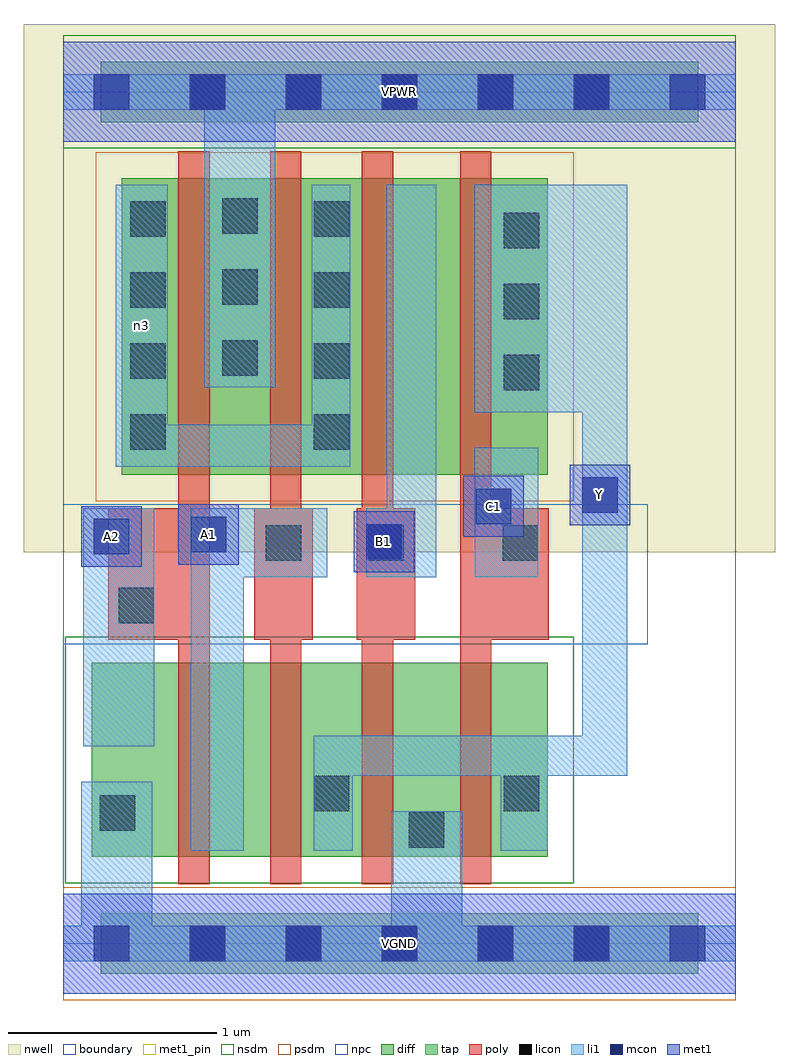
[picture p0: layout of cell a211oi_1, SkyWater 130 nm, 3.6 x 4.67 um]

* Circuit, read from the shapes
.subckt a211oi_1 A1 A2 B1 C1 VGND VPWR Y n3
XM1 n1 A2 VGND VGND sky130_fd_pr__nfet_01v8 w=0.93 l=0.15
XM2 Y A1 n1 VGND sky130_fd_pr__nfet_01v8 w=0.93 l=0.15
XM3 VGND B1 Y VGND sky130_fd_pr__nfet_01v8 w=0.93 l=0.15
XM4 Y C1 VGND VGND sky130_fd_pr__nfet_01v8 w=0.93 l=0.15
XM5 VPWR A2 n3 VPWR sky130_fd_pr__pfet_01v8 w=1.42 l=0.15
XM6 n3 A1 VPWR VPWR sky130_fd_pr__pfet_01v8 w=1.42 l=0.15
XM7 n2 B1 n3 VPWR sky130_fd_pr__pfet_01v8 w=1.42 l=0.15
XM8 Y C1 n2 VPWR sky130_fd_pr__pfet_01v8 w=1.42 l=0.15
.ends

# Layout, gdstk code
import gdstk
lib = gdstk.Library(unit=1e-6, precision=1e-09)
def R(c, l, rs):  # rectangles x0, y0, x1, y1
    for r in rs: c.add(gdstk.rectangle(r[:2], r[2:], *l))
def A(c, l, x, y, w, h, nx, ny, dx, dy):  # array of equal rectangles
    R(c, l, [(x+i*dx, y+j*dy, x+i*dx+w, y+j*dy+h) for i in range(nx) for j in range(ny)])
nwell = (64, 20)
diff = (65, 20)
tap = (65, 44)
poly = (66, 20)
licon = (66, 44)
li1 = (67, 20)
mcon = (67, 44)
met1_pin = (68, 16)
met1 = (68, 20)
nsdm = (93, 44)
psdm = (94, 20)
npc = (95, 20)
boundary = (235, 4)

a211oi_1 = lib.new_cell('a211oi_1')
R(a211oi_1, nwell, [(-0.19,1.875,3.41,4.405), (0,1.875,3.22,4.405)])
R(a211oi_1, diff, [(0.135,0.415,2.32,1.345), (0.28,2.245,2.32,3.665)])
R(a211oi_1, tap, [(0.18,-0.145,3.04,0.145), (0.18,3.935,3.04,4.225)])
A(a211oi_1, poly, 0.55, 0.285, 0.15, 3.51, 3, 1, 0.44, 0)
R(a211oi_1, poly, [(1.9,0.285,2.05,3.795), (0.215,1.455,0.7,2.085), (0.915,1.455,1.195,2.085), (1.405,1.455,1.685,2.085), (1.9,1.455,2.325,2.085)])
A(a211oi_1, licon, 0.605, -0.085, 0.17, 0.17, 5, 2, 0.46, 4.08)
A(a211oi_1, licon, 0.32, 2.365, 0.17, 0.17, 1, 4, 0, 0.34)
A(a211oi_1, licon, 1.2, 2.365, 0.17, 0.17, 1, 4, 0, 0.34)
A(a211oi_1, licon, 2.11, 2.65, 0.17, 0.17, 1, 3, 0, 0.34)
A(a211oi_1, licon, 0.76, 2.72, 0.17, 0.17, 1, 3, 0, 0.34)
R(a211oi_1, licon, [(1.655,0.46,1.825,0.63), (0.175,0.54,0.345,0.71), (1.2,0.635,1.37,0.805), (2.11,0.635,2.28,0.805), (0.265,1.535,0.435,1.705), (0.97,1.835,1.14,2.005), (1.46,1.835,1.63,2.005), (2.105,1.835,2.275,2.005)])
R(a211oi_1, li1, [(0,-0.085,3.22,0.085), (0.085,-0.085,0.425,0.775), (1.57,-0.085,1.91,0.635), (0.61,0.445,0.865,2.085), (1.2,0.445,1.385,0.995), (2.095,0.445,2.32,0.995), (1.2,0.805,2.7,0.995), (2.485,0.805,2.7,3.635), (0.095,0.945,0.435,2.085), (0.61,1.755,1.265,2.085), (1.45,1.755,1.785,2.085), (1.55,1.755,1.785,3.635), (1.97,1.755,2.275,2.375), (0.25,2.285,0.5,3.635), (0.25,2.285,1.375,2.485), (1.19,2.285,1.375,3.635), (1.97,2.545,2.7,3.635), (0.675,2.665,1.015,4.165), (0,3.995,3.22,4.165)])
A(a211oi_1, mcon, 0.145, -0.085, 0.17, 0.17, 7, 2, 0.46, 4.08)
R(a211oi_1, mcon, [(1.45,1.84,1.62,2.01), (0.145,1.865,0.315,2.035), (0.61,1.875,0.78,2.045), (1.975,2.01,2.145,2.18), (2.485,2.065,2.655,2.235)])
R(a211oi_1, met1_pin, [(0,-0.24,3.22,0.24), (1.39,1.78,1.68,2.07), (0.085,1.805,0.375,2.095), (0.55,1.815,0.84,2.105), (1.915,1.95,2.205,2.24), (2.425,2.005,2.715,2.295), (0,3.84,3.22,4.32)])
R(a211oi_1, met1, [(0,-0.24,3.22,0.24), (1.39,1.78,1.68,2.07), (0.085,1.805,0.375,2.095), (0.55,1.815,0.84,2.105), (1.915,1.95,2.205,2.24), (2.425,2.005,2.715,2.295), (0,3.84,3.22,4.32)])
R(a211oi_1, nsdm, [(0.01,0.29,2.445,1.47), (0,3.81,3.22,4.35)])
R(a211oi_1, psdm, [(0,-0.27,3.22,0.27), (0.155,2.12,2.445,3.79)])
R(a211oi_1, npc, [(0,1.435,2.8,2.105)])
R(a211oi_1, boundary, [(0,0,3.22,4.08)])
a211oi_1.add(gdstk.Label('n3', (0.375,2.96), layer=67, texttype=5))
a211oi_1.add(gdstk.Label('A1', (0.695,1.96), layer=68, texttype=5))
a211oi_1.add(gdstk.Label('A2', (0.23,1.95), layer=68, texttype=5))
a211oi_1.add(gdstk.Label('B1', (1.535,1.925), layer=68, texttype=5))
a211oi_1.add(gdstk.Label('C1', (2.06,2.095), layer=68, texttype=5))
a211oi_1.add(gdstk.Label('Y', (2.57,2.15), layer=68, texttype=5))
a211oi_1.add(gdstk.Label('VPWR', (1.61,4.08), layer=68, texttype=5))
a211oi_1.add(gdstk.Label('VGND', (1.61,0), layer=68, texttype=5))
a211oi_1.add(gdstk.Label('A1', (0.695,1.96), layer=68, texttype=16))
a211oi_1.add(gdstk.Label('A2', (0.23,1.95), layer=68, texttype=16))
a211oi_1.add(gdstk.Label('B1', (1.535,1.925), layer=68, texttype=16))
a211oi_1.add(gdstk.Label('C1', (2.06,2.095), layer=68, texttype=16))
a211oi_1.add(gdstk.Label('Y', (2.57,2.15), layer=68, texttype=16))
a211oi_1.add(gdstk.Label('VPWR', (1.61,4.08), layer=68, texttype=16))
a211oi_1.add(gdstk.Label('VGND', (1.61,0), layer=68, texttype=16))

lib.write_gds('a211oi_1.gds')
